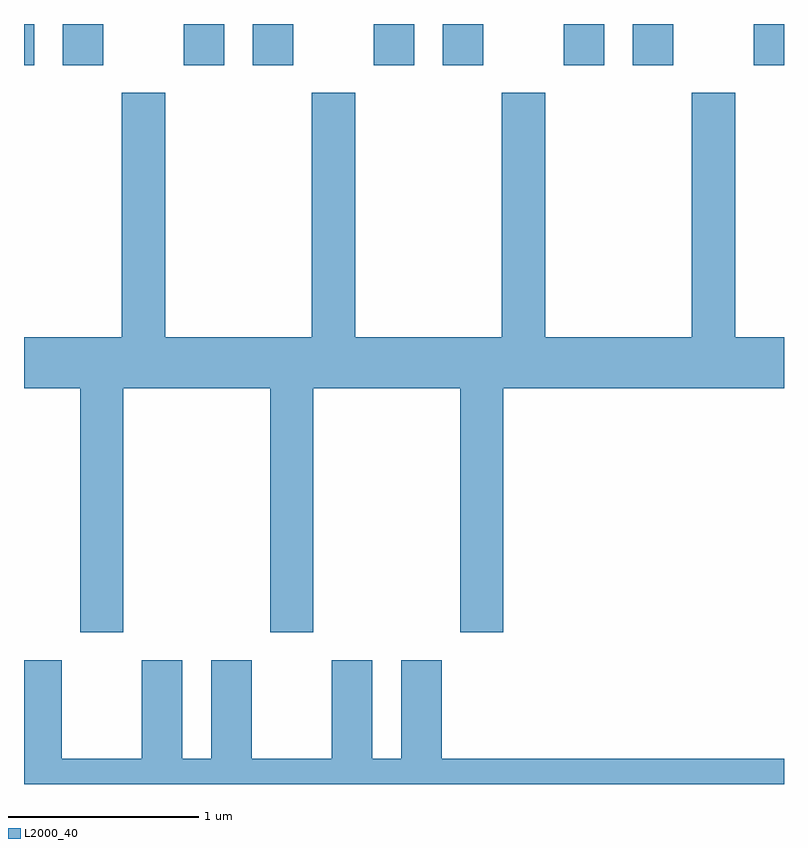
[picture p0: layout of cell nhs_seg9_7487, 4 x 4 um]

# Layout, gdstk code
import gdstk
lib = gdstk.Library(unit=1e-6, precision=1e-09)
def R(c, l, rs):  # rectangles x0, y0, x1, y1
    for r in rs: c.add(gdstk.rectangle(r[:2], r[2:], *l))
def P(c, l, *ps):  # polygons
    for p in ps: c.add(gdstk.Polygon(p, *l))
L2000_40 = (2000, 40)

nhs_seg9_7487 = lib.new_cell('nhs_seg9_7487')
R(nhs_seg9_7487, L2000_40, [(407.611,1960.216,407.664,1960.432), (407.816,1960.216,408.029,1960.432), (408.451,1960.216,408.664,1960.432), (408.816,1960.216,409.029,1960.432), (409.451,1960.216,409.664,1960.432), (409.816,1960.216,410.029,1960.432), (410.451,1960.216,410.664,1960.432), (410.816,1960.216,411.029,1960.432), (411.451,1960.216,411.611,1960.432)])
P(nhs_seg9_7487, L2000_40, [(408.134,1958.516),(408.906,1958.516),(408.906,1957.231),(409.134,1957.231),(409.134,1958.516),(409.906,1958.516),(409.906,1957.231),(410.134,1957.231),(410.134,1958.516),(411.611,1958.516),(411.611,1958.784),(411.354,1958.784),(411.354,1960.069),(411.126,1960.069),(411.126,1958.784),(410.354,1958.784),(410.354,1960.069),(410.126,1960.069),(410.126,1958.784),(409.354,1958.784),(409.354,1960.069),(409.126,1960.069),(409.126,1958.784),(408.354,1958.784),(408.354,1960.069),(408.126,1960.069),(408.126,1958.784),(407.611,1958.784),(407.611,1958.516),(407.906,1958.516),(407.906,1957.231),(408.134,1957.231)],
  [(411.611,1956.564),(409.809,1956.564),(409.809,1957.084),(409.596,1957.084),(409.596,1956.564),(409.444,1956.564),(409.444,1957.084),(409.231,1957.084),(409.231,1956.564),(408.809,1956.564),(408.809,1957.084),(408.596,1957.084),(408.596,1956.564),(408.444,1956.564),(408.444,1957.084),(408.231,1957.084),(408.231,1956.564),(407.809,1956.564),(407.809,1957.084),(407.611,1957.084),(407.611,1956.432),(411.611,1956.432)])

lib.write_gds('nhs_seg9_7487.gds')
